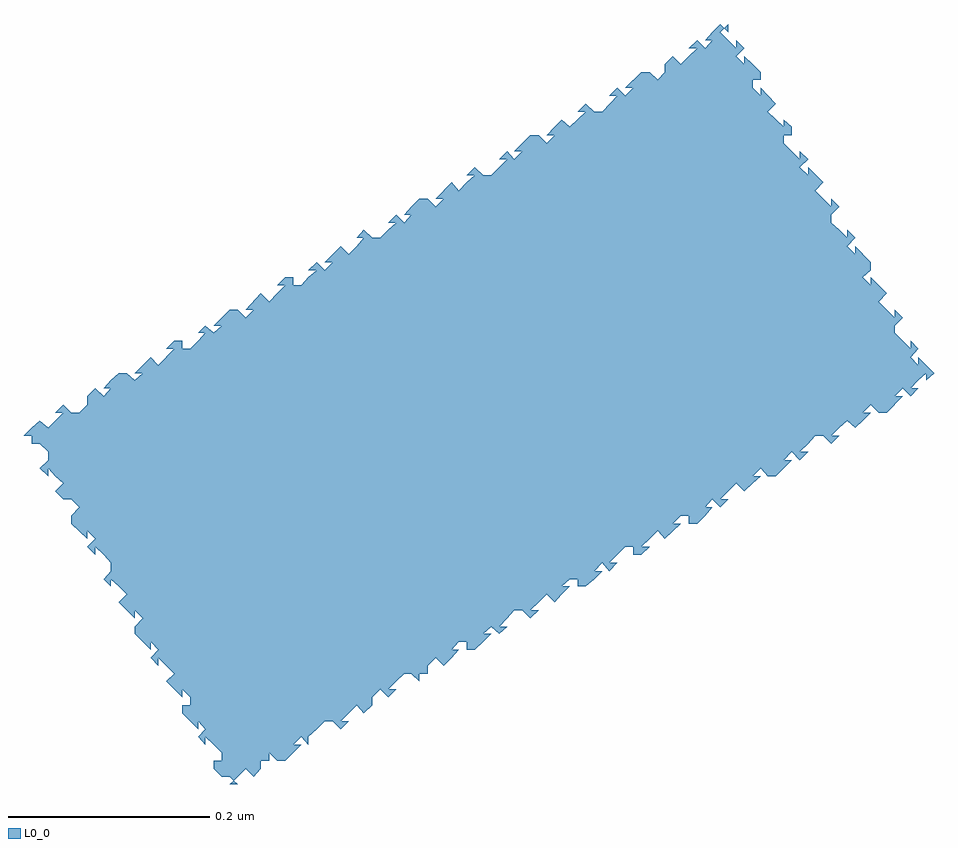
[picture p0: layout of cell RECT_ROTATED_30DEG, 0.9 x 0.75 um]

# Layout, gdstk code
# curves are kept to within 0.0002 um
import gdstk
lib = gdstk.Library(unit=1e-6, precision=1e-09)
def P(c, l, *ps):  # polygons
    for p in ps: c.add(gdstk.Polygon(p, *l))
L0_0 = (0, 0)

rect_rotated_30deg = lib.new_cell('RECT_ROTATED_30DEG')
P(rect_rotated_30deg, L0_0, [(-0.208,0.09),(-0.216,0.098),(-0.224,0.09),(-0.216,0.09),(-0.231,0.075),(-0.239,0.082),(-0.247,0.075),(-0.255,0.067),(-0.247,0.067),(-0.247,0.059),(-0.239,0.059),(-0.231,0.051),(-0.231,0.043),(-0.239,0.035),(-0.231,0.027),(-0.231,0.035),(-0.224,0.027),(-0.216,0.02),(-0.224,0.012),(-0.216,0.004),(-0.208,0.004)],
  [(-0.169,0.122),(-0.176,0.114),(-0.169,0.114),(-0.176,0.106),(-0.184,0.114),(-0.192,0.106),(-0.192,0.098),(-0.2,0.09),(-0.208,0.09),(-0.208,0.004),(-0.2,-0.004),(-0.208,-0.012),(-0.208,-0.02),(-0.192,-0.035),(-0.192,-0.027),(-0.184,-0.035),(-0.192,-0.043),(-0.184,-0.051),(-0.184,-0.043),(-0.176,-0.051),(-0.169,-0.059)],
  [(-0.176,-0.075),(-0.169,-0.082),(-0.169,-0.067)],
  [(-0.153,-0.09),(-0.161,-0.098),(-0.145,-0.114),(-0.145,-0.106),(-0.137,-0.114),(-0.145,-0.122),(-0.145,-0.129),(-0.129,-0.145),(-0.129,-0.137),(-0.122,-0.145),(-0.129,-0.153),(-0.122,-0.161),(-0.122,0.137),(-0.129,0.145),(-0.145,0.129),(-0.137,0.129),(-0.145,0.122),(-0.153,0.129),(-0.161,0.129),(-0.169,0.122),(-0.169,-0.075),(-0.161,-0.082)],
  [(-0.106,-0.169),(-0.114,-0.176),(-0.098,-0.192),(-0.098,-0.184),(-0.09,-0.192),(-0.09,-0.2),(-0.098,-0.2),(-0.098,-0.208),(-0.082,-0.224),(-0.082,0.161),(-0.09,0.153),(-0.098,0.153),(-0.098,0.161),(-0.106,0.161),(-0.114,0.153),(-0.106,0.153),(-0.122,0.137),(-0.122,-0.153)],
  [(-0.082,-0.231),(-0.075,-0.239),(-0.075,-0.231),(-0.059,-0.247),(-0.059,-0.255),(-0.067,-0.255),(-0.067,-0.263),(-0.059,-0.271),(-0.051,-0.271),(-0.047,-0.275),(-0.051,-0.278),(-0.043,-0.278),(-0.047,-0.275),(-0.035,-0.263),(-0.035,0.184),(-0.043,0.192),(-0.051,0.192),(-0.067,0.176),(-0.059,0.176),(-0.067,0.169),(-0.075,0.176),(-0.082,0.169),(-0.075,0.169),(-0.082,0.161),(-0.082,-0.216),(-0.075,-0.224)],
  [(-0.02,-0.263),(-0.02,-0.255),(-0.012,-0.255),(-0.012,-0.247),(-0.004,-0.255),(0.004,-0.255),(0.02,-0.239),(0.012,-0.239),(0.02,-0.231),(0.027,-0.239),(0.027,0.224),(0.02,0.216),(0.012,0.216),(0.012,0.224),(0.004,0.224),(-0.004,0.216),(0.004,0.216),(-0.012,0.2),(-0.02,0.208),(-0.035,0.192),(-0.027,0.192),(-0.035,0.184),(-0.035,-0.263),(-0.027,-0.271)],
  [(0.043,-0.216),(0.051,-0.216),(0.059,-0.224),(0.067,-0.216),(0.059,-0.216),(0.075,-0.2),(0.082,-0.208),(0.082,0.271),(0.075,0.263),(0.082,0.263),(0.075,0.255),(0.067,0.247),(0.059,0.255),(0.043,0.239),(0.051,0.239),(0.043,0.231),(0.035,0.239),(0.027,0.231),(0.035,0.231),(0.027,0.224),(0.027,-0.231),(0.035,-0.224)],
  [(0.129,0.294),(0.122,0.286),(0.129,0.286),(0.122,0.278),(0.114,0.286),(0.106,0.278),(0.114,0.278),(0.106,0.271),(0.098,0.263),(0.09,0.263),(0.082,0.271),(0.082,-0.208),(0.09,-0.2),(0.09,-0.192),(0.098,-0.184),(0.106,-0.192),(0.114,-0.184),(0.106,-0.184),(0.114,-0.176),(0.122,-0.169),(0.129,-0.169),(0.137,-0.176),(0.137,0.302)],
  [(0.145,-0.169),(0.145,-0.161),(0.153,-0.153),(0.161,-0.161),(0.169,-0.153),(0.176,-0.145),(0.169,-0.145),(0.176,-0.137),(0.184,-0.137),(0.184,-0.145),(0.192,-0.145),(0.2,-0.137),(0.2,0.325),(0.192,0.333),(0.184,0.325),(0.192,0.325),(0.184,0.318),(0.176,0.31),(0.169,0.318),(0.153,0.302),(0.161,0.302),(0.153,0.294),(0.145,0.302),(0.137,0.302),(0.137,-0.169)],
  [(0.208,-0.129),(0.2,-0.129),(0.208,-0.122),(0.216,-0.129),(0.224,-0.122),(0.216,-0.122),(0.224,-0.114),(0.231,-0.106),(0.239,-0.106),(0.247,-0.114),(0.255,-0.106),(0.247,-0.106),(0.255,-0.098),(0.255,0.365),(0.247,0.365),(0.231,0.349),(0.239,0.349),(0.231,0.341),(0.224,0.349),(0.216,0.341),(0.224,0.341),(0.208,0.325),(0.2,0.325),(0.2,-0.137)],
  [(0.263,-0.09),(0.271,-0.098),(0.278,-0.09),(0.286,-0.082),(0.278,-0.082),(0.286,-0.075),(0.294,-0.075),(0.294,-0.082),(0.302,-0.082),(0.31,-0.075),(0.31,0.388),(0.302,0.396),(0.294,0.388),(0.302,0.388),(0.286,0.373),(0.278,0.38),(0.263,0.365),(0.271,0.365),(0.263,0.357),(0.255,0.365),(0.255,-0.098)],
  [(0.318,-0.067),(0.31,-0.067),(0.318,-0.059),(0.325,-0.067),(0.333,-0.059),(0.325,-0.059),(0.341,-0.043),(0.349,-0.043),(0.349,-0.051),(0.357,-0.051),(0.365,-0.043),(0.357,-0.043),(0.365,-0.035),(0.365,0.427),(0.357,0.427),(0.341,0.412),(0.349,0.412),(0.341,0.404),(0.333,0.412),(0.325,0.404),(0.333,0.404),(0.318,0.388),(0.31,0.388),(0.31,-0.075)],
  [(0.373,-0.027),(0.38,-0.035),(0.396,-0.02),(0.388,-0.02),(0.396,-0.012),(0.404,-0.012),(0.404,-0.02),(0.412,-0.02),(0.42,-0.012),(0.427,-0.004),(0.42,-0.004),(0.427,0.004),(0.427,0.467),(0.42,0.459),(0.427,0.459),(0.42,0.451),(0.412,0.459),(0.404,0.451),(0.412,0.451),(0.396,0.435),(0.388,0.443),(0.38,0.435),(0.38,0.427),(0.373,0.42),(0.365,0.427),(0.365,-0.035)],
  [(0.443,0.004),(0.435,0.004),(0.451,0.02),(0.459,0.012),(0.467,0.02),(0.475,0.027),(0.467,0.027),(0.475,0.035),(0.475,0.404),(0.467,0.412),(0.467,0.42),(0.475,0.42),(0.475,0.427),(0.459,0.443),(0.459,0.435),(0.451,0.443),(0.459,0.451),(0.451,0.459),(0.451,0.451),(0.435,0.467),(0.439,0.471),(0.435,0.475),(0.427,0.467),(0.427,0.004),(0.435,-0.004)],
  [(0.443,0.475),(0.439,0.471),(0.443,0.467)],
  [(0.482,0.027),(0.49,0.027),(0.506,0.043),(0.498,0.043),(0.506,0.051),(0.514,0.043),(0.514,0.341),(0.498,0.357),(0.498,0.365),(0.506,0.365),(0.506,0.373),(0.498,0.38),(0.498,0.373),(0.482,0.388),(0.49,0.396),(0.475,0.412),(0.475,0.035)],
  [(0.522,0.051),(0.514,0.051),(0.522,0.059),(0.529,0.067),(0.537,0.067),(0.545,0.059),(0.553,0.067),(0.545,0.067),(0.553,0.075),(0.553,0.271),(0.545,0.278),(0.545,0.286),(0.553,0.294),(0.545,0.302),(0.545,0.294),(0.529,0.31),(0.537,0.318),(0.522,0.333),(0.522,0.325),(0.514,0.333),(0.522,0.341),(0.514,0.349),(0.514,0.043)],
  [(0.561,0.082),(0.569,0.075),(0.584,0.09),(0.576,0.09),(0.584,0.098),(0.592,0.09),(0.6,0.09),(0.6,0.192),(0.592,0.2),(0.6,0.208),(0.584,0.224),(0.584,0.216),(0.576,0.224),(0.584,0.231),(0.584,0.239),(0.569,0.255),(0.569,0.247),(0.561,0.255),(0.569,0.263),(0.561,0.271),(0.561,0.263),(0.553,0.271),(0.553,0.075)],
  [(0.616,0.106),(0.608,0.106),(0.616,0.114),(0.624,0.106),(0.631,0.114),(0.624,0.114),(0.631,0.122),(0.639,0.129),(0.639,0.122),(0.647,0.129),(0.631,0.145),(0.631,0.137),(0.624,0.145),(0.631,0.153),(0.624,0.161),(0.624,0.153),(0.608,0.169),(0.608,0.176),(0.616,0.184),(0.608,0.192),(0.608,0.184),(0.6,0.192),(0.6,0.09)])

lib.write_gds('RECT_ROTATED_30DEG.gds')
